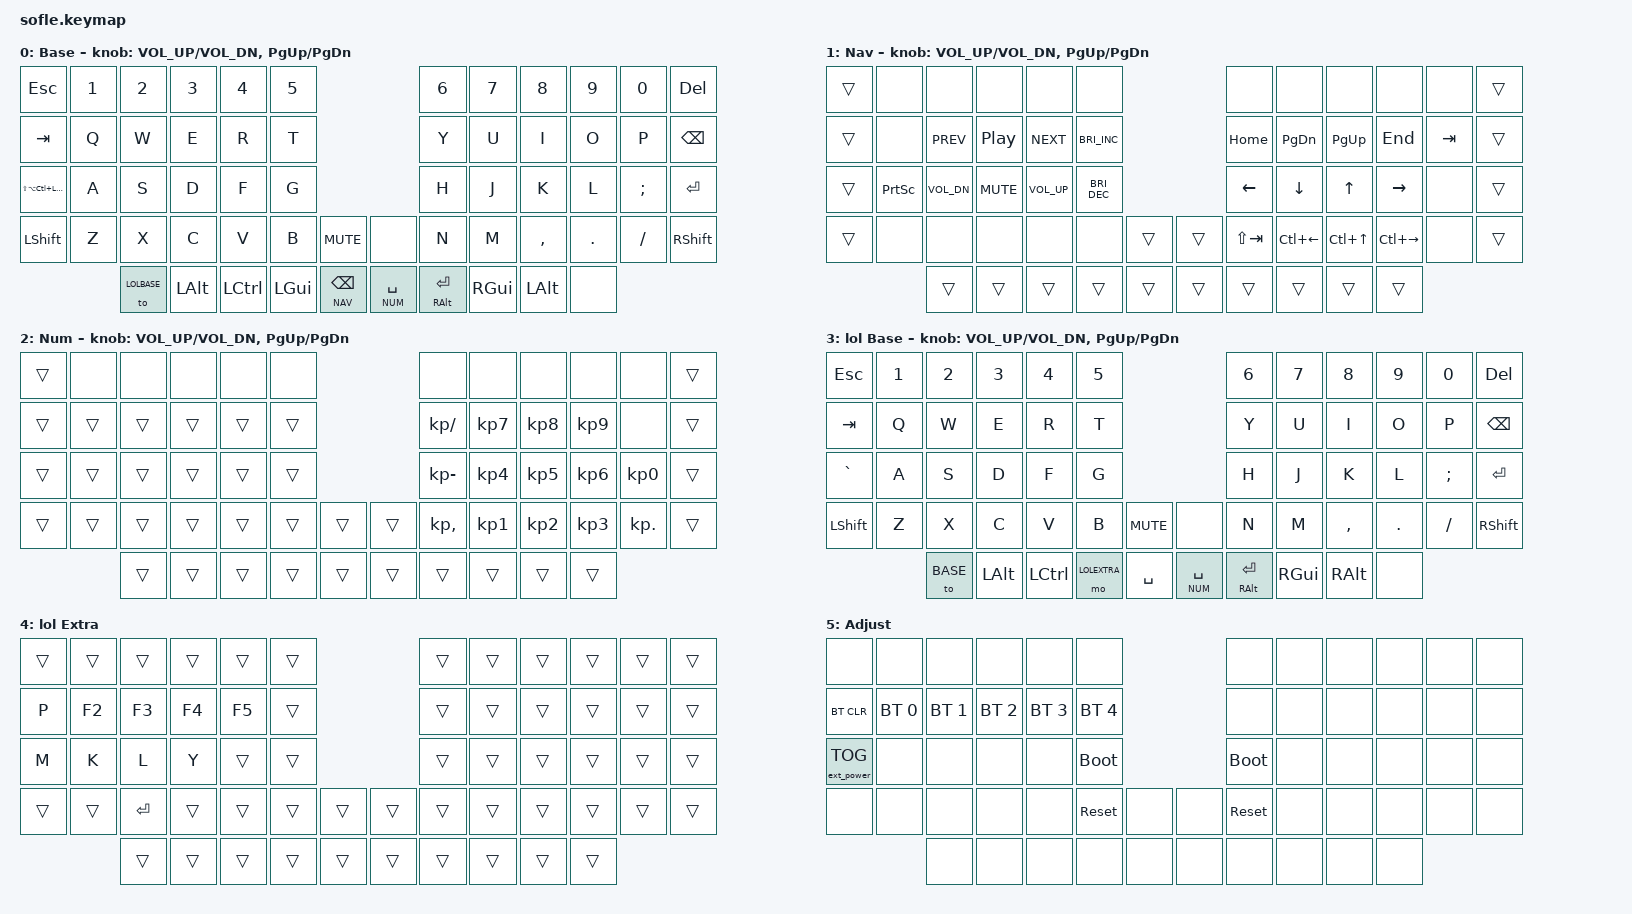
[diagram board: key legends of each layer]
/*
 * Copyright (c) 2020 The ZMK Contributors
 *
 * SPDX-License-Identifier: MIT
 */

#include <behaviors.dtsi>
#include <dt-bindings/zmk/bt.h>
#include <dt-bindings/zmk/ext_power.h>
#include <dt-bindings/zmk/keys.h>

#define BASE 0
#define NAV 1
#define NUM 2
#define LOLBASE 3
#define LOLEXTRA 4
#define ADJUST 5

&lt {
    flavor = "tap-preferred";
    tapping-term-ms = <300>;
};

&mt {
    flavor = "tap-preferred";
    tapping-term-ms = <300>;
};

/ {
    // Activate ADJUST layer by pressing raise and lower

    conditional_layers {
        compatible = "zmk,conditional-layers";

        adjust_layer {
            if-layers = <NAV NUM>;
            then-layer = <ADJUST>;
        };
    };

    keymap {
        compatible = "zmk,keymap";

        base_layer {
            display-name = "Base";
            bindings = <
&kp ESC               &kp N1  &kp N2       &kp N3    &kp N4     &kp N5                                   &kp N6          &kp N7    &kp N8     &kp N9   &kp N0    &kp DEL
&kp TAB               &kp Q   &kp W        &kp E     &kp R      &kp T                                    &kp Y           &kp U     &kp I      &kp O    &kp P     &kp BSPC
&kp LS(LA(LC(LGUI)))  &kp A   &kp S        &kp D     &kp F      &kp G                                    &kp H           &kp J     &kp K      &kp L    &kp SEMI  &kp ENTER
&kp LSHFT             &kp Z   &kp X        &kp C     &kp V      &kp B     &kp C_MUTE      &none          &kp N           &kp M     &kp COMMA  &kp DOT  &kp FSLH  &kp RSHFT
                              &to LOLBASE  &kp LALT  &kp LCTRL  &kp LGUI  &lt NAV BSPC    &lt NUM SPACE  &mt RALT ENTER  &kp RGUI  &kp LALT   &none
            >;

            sensor-bindings = <&inc_dec_kp C_VOL_UP C_VOL_DN &inc_dec_kp PG_UP PG_DN>;
        };

        nav_layer {
            display-name = "Nav";
            bindings = <
&trans  &none      &none         &none       &none         &none                            &none        &none         &none       &none          &none    &trans
&trans  &none      &kp C_PREV    &kp C_PP    &kp C_NEXT    &kp C_BRI_INC                    &kp HOME     &kp PG_DN     &kp PG_UP   &kp END        &kp TAB  &trans
&trans  &kp PSCRN  &kp C_VOL_DN  &kp C_MUTE  &kp C_VOL_UP  &kp C_BRI_DEC                    &kp LEFT     &kp DOWN      &kp UP      &kp RIGHT      &none    &trans
&trans  &none      &none         &none       &none         &none          &trans    &trans  &kp LS(TAB)  &kp LC(LEFT)  &kp LC(UP)  &kp LC(RIGHT)  &none    &trans
                   &trans        &trans      &trans        &trans         &trans    &trans  &trans       &trans        &trans      &trans
            >;

            sensor-bindings = <&inc_dec_kp C_VOL_UP C_VOL_DN &inc_dec_kp PG_UP PG_DN>;
        };

        num_layer {
            display-name = "Num";
            bindings = <
&trans  &none   &none   &none   &none   &none                     &none         &none      &none      &none      &none       &trans
&trans  &trans  &trans  &trans  &trans  &trans                    &kp KP_SLASH  &kp KP_N7  &kp KP_N8  &kp KP_N9  &none       &trans
&trans  &trans  &trans  &trans  &trans  &trans                    &kp KP_MINUS  &kp KP_N4  &kp KP_N5  &kp KP_N6  &kp KP_N0   &trans
&trans  &trans  &trans  &trans  &trans  &trans  &trans    &trans  &kp KP_COMMA  &kp KP_N1  &kp KP_N2  &kp KP_N3  &kp KP_DOT  &trans
                &trans  &trans  &trans  &trans  &trans    &trans  &trans        &trans     &trans     &trans
            >;

            sensor-bindings =
                <&inc_dec_kp C_VOL_UP C_VOL_DN>,
                <&inc_dec_kp PG_UP PG_DN>;
        };

        lol_base_layer {
            display-name = "lol Base";
            bindings = <
&kp ESC    &kp N1  &kp N2    &kp N3    &kp N4     &kp N5                                     &kp N6          &kp N7    &kp N8     &kp N9   &kp N0    &kp DEL
&kp TAB    &kp Q   &kp W     &kp E     &kp R      &kp T                                      &kp Y           &kp U     &kp I      &kp O    &kp P     &kp BSPC
&kp GRAVE  &kp A   &kp S     &kp D     &kp F      &kp G                                      &kp H           &kp J     &kp K      &kp L    &kp SEMI  &kp ENTER
&kp LSHFT  &kp Z   &kp X     &kp C     &kp V      &kp B         &kp C_MUTE    &none          &kp N           &kp M     &kp COMMA  &kp DOT  &kp FSLH  &kp RSHFT
                   &to BASE  &kp LALT  &kp LCTRL  &mo LOLEXTRA  &kp SPACE     &lt NUM SPACE  &mt RALT ENTER  &kp RGUI  &kp RALT   &none
            >;

            sensor-bindings =
                <&inc_dec_kp C_VOL_UP C_VOL_DN>,
                <&inc_dec_kp PG_UP PG_DN>;
        };

        lol_extra_layer {
            display-name = "lol Extra";
            bindings = <
&trans  &trans  &trans     &trans  &trans  &trans                    &trans  &trans  &trans  &trans  &trans  &trans
&kp P   &kp F2  &kp F3     &kp F4  &kp F5  &trans                    &trans  &trans  &trans  &trans  &trans  &trans
&kp M   &kp K   &kp L      &kp Y   &trans  &trans                    &trans  &trans  &trans  &trans  &trans  &trans
&trans  &trans  &kp ENTER  &trans  &trans  &trans  &trans    &trans  &trans  &trans  &trans  &trans  &trans  &trans
                &trans     &trans  &trans  &trans  &trans    &trans  &trans  &trans  &trans  &trans
            >;
        };

        adjust_layer {
            display-name = "Adjust";
            bindings = <
&none              &none         &none         &none         &none         &none                         &none        &none  &none  &none  &none  &none
&bt BT_CLR         &bt BT_SEL 0  &bt BT_SEL 1  &bt BT_SEL 2  &bt BT_SEL 3  &bt BT_SEL 4                  &none        &none  &none  &none  &none  &none
&ext_power EP_TOG  &none         &none         &none         &none         &bootloader                   &bootloader  &none  &none  &none  &none  &none
&none              &none         &none         &none         &none         &sys_reset    &none    &none  &sys_reset   &none  &none  &none  &none  &none
                                 &none         &none         &none         &none         &none    &none  &none        &none  &none  &none
            >;
        };
    };
};
